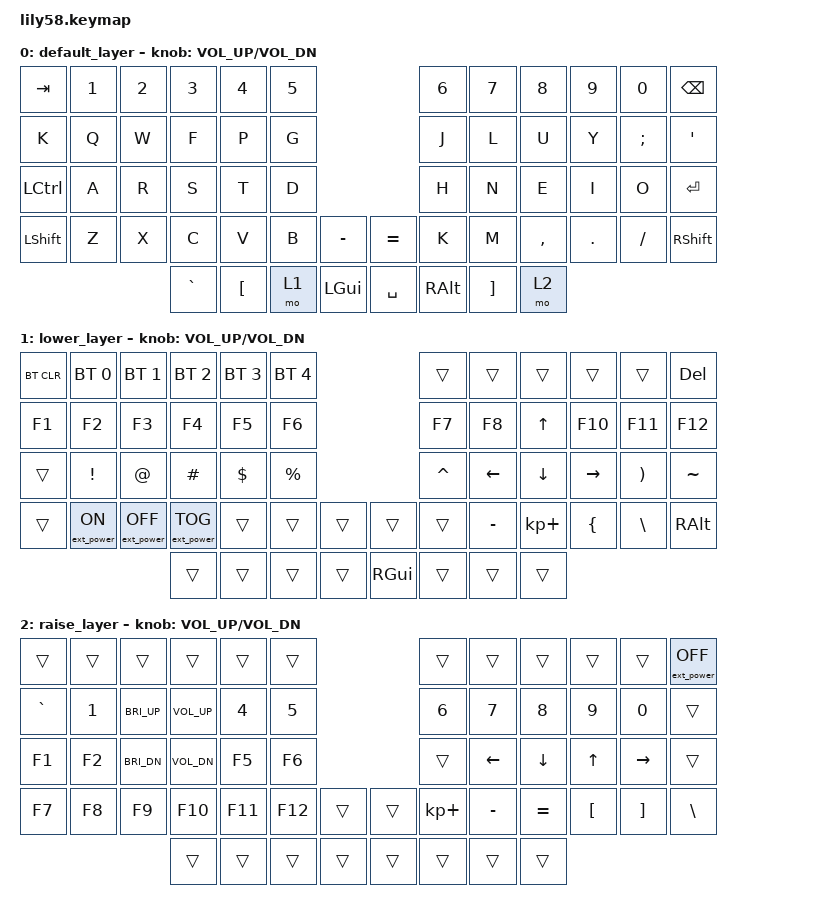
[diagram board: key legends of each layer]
/*
 * Copyright (c) 2020 The ZMK Contributors
 *
 * SPDX-License-Identifier: MIT
 */

#include <behaviors.dtsi>
#include <dt-bindings/zmk/keys.h>
#include <dt-bindings/zmk/bt.h>
#include <dt-bindings/zmk/ext_power.h>

/ {
	keymap {
		compatible = "zmk,keymap";

		default_layer {
// ------------------------------------------------------------------------------------------------------------
// |  TAB  |  1  |  2  |  3  |  4   |  5    |                |  6   |  7   |  8    |  9   |   0   | BSPC  |
// |  K  |  Q  |  W  |  F  |  P   |  G    |                |  J   |  L   |  U    |  Y   |   ;   |   "   |
// |  CTRL |  A  |  R  |  S  |  T   |  D    |                |  H   |  N   |  E    |  I   |   O   | ENTER |
// | SHIFT |  Z  |  X  |  C  |  V   |  B    |  -  |  |  +    |  K   |  M   |  ,    |  .   |   /?  | SHIFT |
//                     |  `  | "["  | LOWER | GUI |  | SPACE | ALT  | "]"  | RAISE |
			bindings = <
&kp TAB   &kp N1 &kp N2 &kp N3    &kp N4   &kp N5                     &kp N6   &kp N7   &kp N8    &kp N9  &kp N0   &kp BSPC
&kp K   &kp Q  &kp W  &kp F     &kp P    &kp G                      &kp J    &kp L    &kp U     &kp Y   &kp SEMI &kp SQT
&kp LCTRL &kp A  &kp R  &kp S     &kp T    &kp D                      &kp H    &kp N    &kp E     &kp I   &kp O    &kp ENTER
&kp LSHFT &kp Z  &kp X  &kp C     &kp V    &kp B  &kp MINUS &kp EQUAL &kp K    &kp M    &kp COMMA &kp DOT &kp FSLH &kp RSHFT
                        &kp GRAVE &kp LBKT &mo 1  &kp LGUI  &kp SPACE &kp RALT &kp RBKT &mo 2
			>;

			sensor-bindings = <&inc_dec_kp C_VOL_UP C_VOL_DN>;
		};

		lower_layer {
// ------------------------------------------------------------------------------------------------------------
// | BTCLR | BT1 | BT2 |  BT3 |  BT4 |  BT5 |                   |      |       |       |       |       |  DEL  |
// |  F1   |  F2 |  F3 |  F4  |  F5  |  F6  |                   |  F7  |  F8   |  UP   |  F10  |  F11  |  F12  |
// |       |  !  |  @  |  #   |  $   |  %   |                   |  ^   |  LEFT | DOWN  | RIGHT |   )   |   ~   |
// |       |     |     |      |      |      |        |  |       |      |  _    |  +    |  {    |  "\|" |  ALT  |
//                     |      |      |      |        |  |  GUI  |      |       |       |
			bindings = <
&bt BT_CLR &bt BT_SEL 0     &bt BT_SEL 1      &bt BT_SEL 2      &bt BT_SEL 3 &bt BT_SEL 4                 &trans    &trans    &trans          &trans     &trans    &kp DEL
&kp F1     &kp F2           &kp F3            &kp F4            &kp F5       &kp F6                       &kp F7    &kp F8    &kp UP          &kp F10    &kp F11   &kp F12
&trans     &kp EXCL         &kp AT            &kp HASH          &kp DOLLAR   &kp PRCNT                    &kp CARET &kp LEFT  &kp DOWN        &kp RIGHT  &kp RPAR  &kp TILDE
&trans     &ext_power EP_ON &ext_power EP_OFF &ext_power EP_TOG &trans       &trans    &trans   &trans    &trans    &kp MINUS &kp KP_PLUS     &kp LBRC   &kp BSLH  &kp RALT
                                              &trans            &trans       &trans    &trans   &kp RGUI  &trans    &trans    &trans
			>;

			sensor-bindings = <&inc_dec_kp C_VOL_UP C_VOL_DN>;
		};

		raise_layer {
// ------------------------------------------------------------------------------------------------------------
// |       |     |       |          |      |      |                   |      |       |       |      |       |EXT_PWR_OFF|
// |   `   |  1  | BRI_U | VOL_UP   |  4   |  5   |                   |  6   |   7   |   8   |  9   |   0   |           |
// |   F1  |  F2 | BRI_D | VOL_DOWN |  F5  |  F6  |                   |      |   <-  |   ^   |  v   |  ->   |           |
// |   F7  |  F8 |  F9   |      F10 |  F11 |  F12 |        |  |       |  +   |   -   |   =   |  [   |   ]   |   \       |
//                       |          |      |      |        |  |       |      |       |       |
			bindings = <
&trans    &trans &trans       &trans        &trans  &trans                       &trans      &trans    &trans    &trans   &trans    &ext_power EP_OFF
&kp GRAVE &kp N1 &kp C_BRI_UP &kp C_VOL_UP  &kp N4  &kp N5                       &kp N6      &kp N7    &kp N8    &kp N9   &kp N0    &trans
&kp F1    &kp F2 &kp C_BRI_DN &kp C_VOL_DN  &kp F5  &kp F6                       &trans      &kp LEFT  &kp DOWN  &kp UP   &kp RIGHT &trans
&kp F7    &kp F8 &kp F9       &kp F10       &kp F11 &kp F12   &trans   &trans    &kp KP_PLUS &kp MINUS &kp EQUAL &kp LBKT &kp RBKT  &kp BSLH
                              &trans        &trans  &trans    &trans   &trans    &trans      &trans    &trans
			>;

			sensor-bindings = <&inc_dec_kp C_VOL_UP C_VOL_DN>;
		};
	};
};
